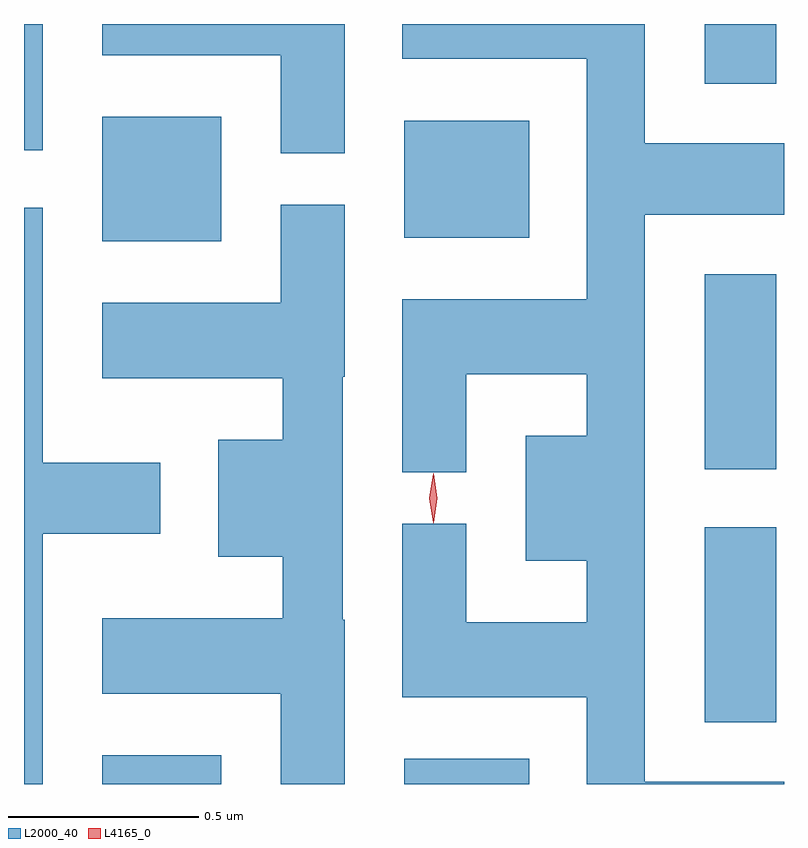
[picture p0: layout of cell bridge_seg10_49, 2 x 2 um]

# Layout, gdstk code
import gdstk
lib = gdstk.Library(unit=1e-6, precision=1e-09)
def R(c, l, rs):  # rectangles x0, y0, x1, y1
    for r in rs: c.add(gdstk.rectangle(r[:2], r[2:], *l))
def P(c, l, *ps):  # polygons
    for p in ps: c.add(gdstk.Polygon(p, *l))
L2000_40 = (2000, 40)
L4165_0 = (4165, 0)

bridge_seg10_49 = lib.new_cell('bridge_seg10_49')
R(bridge_seg10_49, L2000_40, [(1786.791,2173.458,1787.104,2173.534), (1787.586,2173.458,1787.914,2173.524), (1788.376,2173.621,1788.564,2174.134), (1788.376,2174.286,1788.564,2174.799), (1786.791,2174.886,1787.104,2175.214), (1787.586,2174.896,1787.914,2175.204), (1786.585,2175.126,1786.634,2175.458), (1788.376,2175.301,1788.564,2175.458)])
P(bridge_seg10_49, L2000_40, [(1788.585,2173.464),(1788.219,2173.464),(1788.219,2174.956),(1788.585,2174.956),(1788.585,2175.144),(1788.219,2175.144),(1788.219,2175.458),(1787.581,2175.458),(1787.581,2175.366),(1788.066,2175.366),(1788.066,2174.734),(1787.581,2174.734),(1787.581,2174.278),(1787.749,2174.278),(1787.749,2174.536),(1788.066,2174.536),(1788.066,2174.374),(1787.906,2174.374),(1787.906,2174.046),(1788.066,2174.046),(1788.066,2173.884),(1787.749,2173.884),(1787.749,2174.143),(1787.581,2174.143),(1787.581,2173.686),(1788.066,2173.686),(1788.066,2173.458),(1788.585,2173.458)],
  [(1787.429,2175.458),(1786.791,2175.458),(1786.791,2175.376),(1787.261,2175.376),(1787.261,2175.118),(1787.429,2175.118)],
  [(1787.429,2173.89),(1787.424,2173.89),(1787.424,2174.53),(1787.429,2174.53),(1787.429,2174.983),(1787.261,2174.983),(1787.261,2174.724),(1786.791,2174.724),(1786.791,2174.526),(1787.266,2174.526),(1787.266,2174.364),(1787.096,2174.364),(1787.096,2174.056),(1787.266,2174.056),(1787.266,2173.894),(1786.791,2173.894),(1786.791,2173.696),(1787.261,2173.696),(1787.261,2173.458),(1787.429,2173.458)],
  [(1786.634,2174.116),(1786.944,2174.116),(1786.944,2174.304),(1786.634,2174.304),(1786.634,2174.974),(1786.585,2174.974),(1786.585,2173.458),(1786.634,2173.458)])
P(bridge_seg10_49, L4165_0, [(1787.662,2174.144),(1787.662,2174.145),(1787.652,2174.21),(1787.662,2174.275),(1787.662,2174.276),(1787.663,2174.275),(1787.672,2174.21),(1787.663,2174.145)])

lib.write_gds('bridge_seg10_49.gds')
